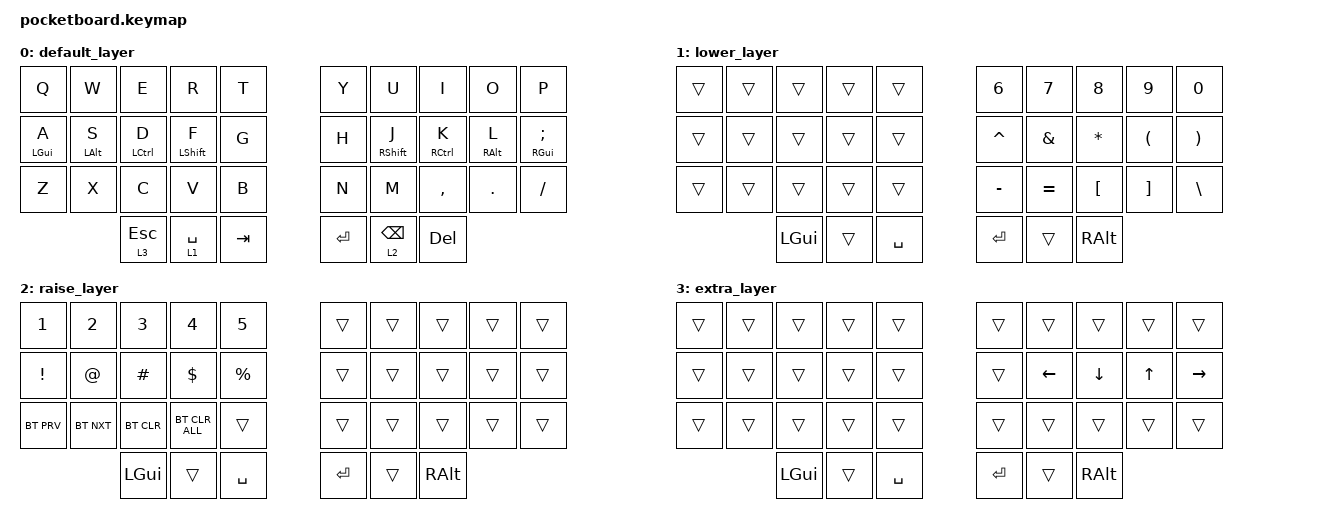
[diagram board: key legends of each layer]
/*
 * Copyright (c) 2020 The ZMK Contributors
 *
 * SPDX-License-Identifier: MIT
 */

#include <behaviors.dtsi>
#include <dt-bindings/zmk/keys.h>
#include <dt-bindings/zmk/bt.h>

/ {
        keymap {
                compatible = "zmk,keymap";

                default_layer {
// -----------------------------------------------------------------------------------------
//  |  Q  |  W  |  E  |  R  |  T  |   |  Y  |  U   |  I  |  O  |  P  |
//  |  A  |  S  |  D  |  F  |  G  |   |  H  |  J   |  K  |  L  |  ;  |
//  |  Z  |  X  |  C  |  V  |  B  |   |  N  |  M   |  ,  |  .  |  /  |
//              | GUI | LWR | SPC |   | ENT | RSE  | ALT |
                        bindings = <
   &kp Q &kp W &kp E &kp R &kp T   &kp Y &kp U  &kp I     &kp O   &kp P    
   &mt LGUI A &mt LALT S &mt LCTRL D &mt LSHIFT F &kp G   &kp H &mt RSHIFT J  &mt RCTRL K &mt RALT L   &mt RGUI SEMI 
   &kp Z &kp X &kp C &kp V &kp B   &kp N &kp M  &kp COMMA &kp DOT &kp FSLH 
        &lt 3 ESC &lt 1 SPACE &kp TAB   &kp RET &lt 2 BSPC &kp DEL
                        >;
                };
                lower_layer {
// -----------------------------------------------------------------------------------------
// |     |     |     |     |     |   |  6  |  7  |  8  |  9  |  0  |
// |     |     |     |     |     |   |  ^  |  &  |  *  |  (  |  )  |
// |     |     |     |     |     |   |  -  |  =  |  [  |  ]  |  \  |
//             | GUI |     | SPC |   | ENT |     | ALT |
                        bindings = <
    &trans       &trans       &trans       &trans       &trans         &kp N6   &kp N7   &kp N8 &kp N9    &kp N0
    &trans       &trans       &trans       &trans       &trans         &kp CARET &kp AMPS  &kp ASTRK &kp LPAR &kp RPAR
    &trans       &trans       &trans       &trans       &trans         &kp MINUS &kp EQUAL &kp LBKT  &kp RBKT &kp BSLH
                           &kp LGUI     &trans       &kp SPACE         &kp RET  &trans   &kp RALT
                        >;
                };

                raise_layer {
// -----------------------------------------------------------------------------------------
//  |    1   |   2    |    3   |      4     |  5  |   |     |     |     |     |     |
//  |    !   |   @    |    #   |      $     |  %  |   |     |     |     |     |     |
//  | BT_NXT | BT_PRV | BT_CLR | BT_CLR_ALL |     |   |     |     |     |     |     |
//                    |   GUI  |            | SPC |         | ENT |     | ALT |
                        bindings = <
                    &kp N1 &kp N2 &kp N3 &kp N4 &kp N5        &trans &trans &trans &trans &trans
           &kp EXCL &kp AT &kp HASH &kp DLLR &kp PRCNT        &trans &trans &trans &trans &trans
&bt BT_PRV &bt BT_NXT &bt BT_CLR &bt BT_CLR_ALL &trans        &trans &trans &trans &trans &trans
                             &kp LGUI &trans &kp SPACE        &kp RET &trans &kp RALT
                        >;
                };

                extra_layer {
// -----------------------------------------------------------------------------------------
// |     |     |     |     |     |   |     |     |     |     |     |
// |     |     |     |     |     |   |     | LFT | DWN |  UP | RGT |
// |     |     |     |     |     |   |     |     |     |     |     |
//             | GUI |     | SPC |   | ENT |     | ALT |
                        bindings = <
    &trans       &trans       &trans       &trans       &trans         &trans &trans &trans &trans &trans
    &trans       &trans       &trans       &trans       &trans         &trans &kp LEFT &kp DOWN &kp UP &kp RIGHT
    &trans       &trans       &trans       &trans       &trans         &trans &trans &trans &trans &trans
                           &kp LGUI     &trans       &kp SPACE         &kp RET  &trans   &kp RALT
                        >;
                };
        };
};


//| LFT | DWN |  UP | RGT |     | 
//&kp LEFT &kp DOWN &kp UP &kp RIGHT &trans
//
//&out OUT_TOG   &bt BT_CLR &bt BT_CLR_ALL   &trans   &trans
//
//|  _  |  +  |  {  |  }  | "|" |  ~   |
//&kp UNDER &kp PLUS  &kp LBRC  &kp RBRC &kp PIPE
